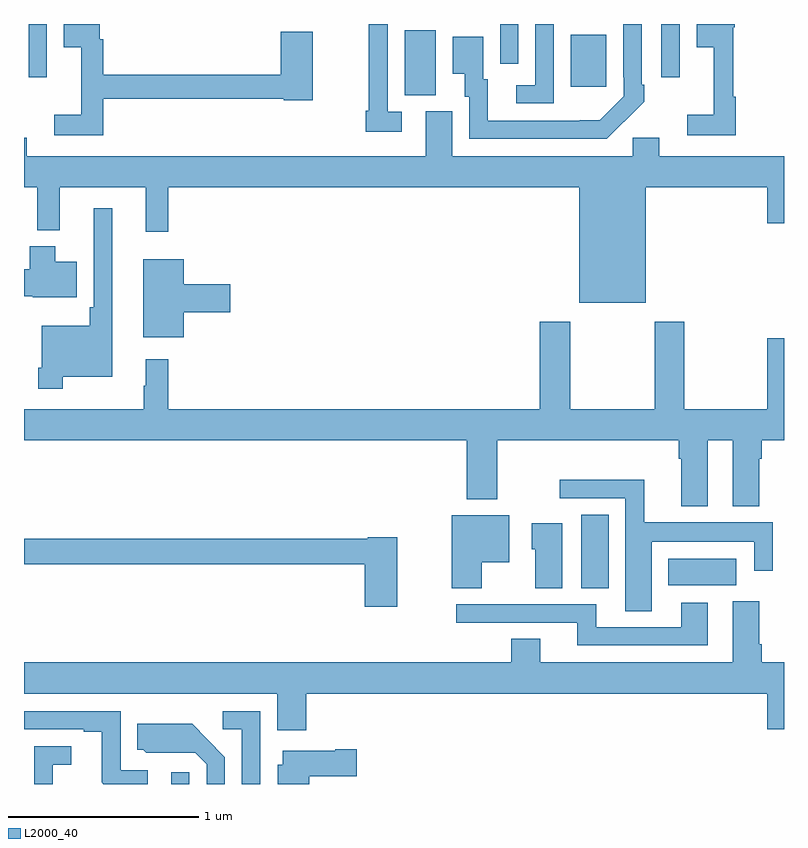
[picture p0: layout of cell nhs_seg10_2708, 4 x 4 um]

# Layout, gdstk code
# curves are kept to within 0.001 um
import gdstk
lib = gdstk.Library(unit=1e-6, precision=1e-09)
def R(c, l, rs):  # rectangles x0, y0, x1, y1
    for r in rs: c.add(gdstk.rectangle(r[:2], r[2:], *l))
def P(c, l, *ps):  # polygons
    for p in ps: c.add(gdstk.Polygon(p, *l))
L2000_40 = (2000, 40)

nhs_seg10_2708 = lib.new_cell('nhs_seg10_2708')
R(nhs_seg10_2708, L2000_40, [(257.775,1306.5,257.871,1306.561), (259.934,1307.53,260.077,1307.918), (260.39,1307.546,260.749,1307.686), (259.004,1310.125,259.168,1310.468), (259.877,1310.169,260.065,1310.443), (257.025,1310.22,257.121,1310.5), (260.355,1310.22,260.451,1310.5), (259.506,1310.292,259.602,1310.5)])
P(nhs_seg10_2708, L2000_40, [(257.417,1310.106),(258.366,1310.106),(258.366,1310.098),(258.52,1310.098),(258.52,1310.458),(258.35,1310.458),(258.35,1310.234),(257.417,1310.234),(257.417,1310.421),(257.398,1310.421),(257.398,1310.5),(257.21,1310.5),(257.21,1310.378),(257.3,1310.378),(257.3,1310.023),(257.16,1310.023),(257.16,1309.914),(257.417,1309.914)],
  [(259.788,1310.5),(259.692,1310.5),(259.692,1310.178),(259.59,1310.178),(259.59,1310.082),(259.788,1310.082)],
  [(258.988,1310.037),(258.915,1310.037),(258.915,1310.5),(258.814,1310.5),(258.814,1310.044),(258.799,1310.044),(258.799,1309.932),(258.988,1309.932)],
  [(260.159,1309.987),(260.16,1309.986),(260.265,1310.091),(260.265,1310.179),(260.25,1310.179),(260.25,1310.5),(260.154,1310.5),(260.154,1310.221),(260.157,1310.221),(260.157,1310.121),(260.029,1309.993),(259.441,1309.992),(259.441,1310.208),(259.417,1310.208),(259.417,1310.434),(259.256,1310.434),(259.256,1310.237),(259.319,1310.237),(259.319,1310.118),(259.344,1310.118),(259.344,1309.896),(260.068,1309.896)],
  [(260.747,1310.117),(260.732,1310.117),(260.732,1310.482),(260.741,1310.482),(260.741,1310.5),(260.54,1310.5),(260.54,1310.378),(260.63,1310.378),(260.63,1310.023),(260.49,1310.023),(260.49,1309.914),(260.747,1309.914)],
  [(260.272,1309.64),(260.912,1309.64),(260.912,1309.452),(261,1309.452),(261,1309.804),(260.344,1309.804),(260.344,1309.902),(260.205,1309.902),(260.205,1309.804),(259.255,1309.804),(259.255,1310.04),(259.115,1310.04),(259.115,1309.804),(257.014,1309.804),(257.014,1309.902),(257,1309.902),(257,1309.64),(257.071,1309.64),(257.071,1309.415),(257.189,1309.415),(257.189,1309.64),(257.642,1309.64),(257.642,1309.407),(257.759,1309.407),(257.759,1309.64),(259.922,1309.64),(259.922,1309.034),(260.272,1309.034)],
  [(257.203,1308.644),(257.464,1308.644),(257.464,1309.531),(257.367,1309.531),(257.367,1309.009),(257.347,1309.009),(257.347,1308.913),(257.094,1308.913),(257.094,1308.691),(257.074,1308.691),(257.074,1308.579),(257.203,1308.579)],
  [(257.278,1309.249),(257.164,1309.249),(257.164,1309.33),(257.029,1309.33),(257.029,1309.209),(257,1309.209),(257,1309.067),(257.046,1309.067),(257.046,1309.061),(257.278,1309.061)],
  [(257.842,1308.983),(258.085,1308.983),(258.085,1309.13),(257.842,1309.13),(257.842,1309.261),(257.627,1309.261),(257.627,1308.851),(257.842,1308.851)],
  [(259.715,1308.934),(259.715,1308.472),(257.759,1308.472),(257.759,1308.736),(257.642,1308.736),(257.642,1308.596),(257.631,1308.596),(257.631,1308.472),(257,1308.472),(257,1308.308),(259.331,1308.308),(259.331,1307.999),(259.491,1307.999),(259.491,1308.308),(260.447,1308.308),(260.447,1308.212),(260.459,1308.212),(260.459,1307.963),(260.599,1307.963),(260.599,1308.308),(260.729,1308.308),(260.729,1307.963),(260.869,1307.963),(260.869,1308.212),(260.882,1308.212),(260.882,1308.308),(261,1308.308),(261,1308.847),(260.912,1308.847),(260.912,1308.472),(260.475,1308.472),(260.475,1308.934),(260.32,1308.934),(260.32,1308.472),(259.875,1308.472),(259.875,1308.934)],
  [(260.305,1307.774),(260.844,1307.774),(260.844,1307.622),(260.94,1307.622),(260.94,1307.878),(260.264,1307.878),(260.264,1308.101),(259.821,1308.101),(259.821,1308.003),(260.165,1308.003),(260.165,1307.41),(260.305,1307.41)],
  [(259.408,1307.666),(259.555,1307.666),(259.555,1307.914),(259.25,1307.914),(259.25,1307.53),(259.408,1307.53)],
  [(259.834,1307.872),(259.673,1307.872),(259.673,1307.736),(259.691,1307.736),(259.691,1307.53),(259.834,1307.53)],
  [(258.964,1307.8),(258.81,1307.8),(258.81,1307.792),(257,1307.792),(257,1307.656),(258.794,1307.656),(258.794,1307.433),(258.964,1307.433)],
  [(258.485,1306.976),(260.912,1306.976),(260.912,1306.788),(261,1306.788),(261,1307.14),(260.882,1307.14),(260.882,1307.236),(260.869,1307.236),(260.869,1307.461),(260.729,1307.461),(260.729,1307.14),(259.717,1307.14),(259.717,1307.264),(259.565,1307.264),(259.565,1307.14),(257,1307.14),(257,1306.976),(258.332,1306.976),(258.332,1306.782),(258.485,1306.782)],
  [(260.599,1307.455),(260.459,1307.455),(260.459,1307.325),(260.011,1307.325),(260.011,1307.445),(259.275,1307.445),(259.275,1307.349),(259.913,1307.349),(259.913,1307.229),(260.599,1307.229)],
  [(258.243,1306.884),(258.045,1306.884),(258.045,1306.788),(258.147,1306.788),(258.147,1306.5),(258.243,1306.5)],
  [(257.65,1306.572),(257.508,1306.572),(257.508,1306.884),(257,1306.884),(257,1306.787),(257.001,1306.788),(257.315,1306.788),(257.315,1306.776),(257.409,1306.776),(257.409,1306.508),(257.417,1306.5),(257.65,1306.5)],
  [(258.057,1306.642),(257.885,1306.816),(257.597,1306.816),(257.597,1306.68),(257.628,1306.68),(257.644,1306.664),(257.901,1306.665),(257.961,1306.605),(257.961,1306.5),(258.057,1306.5)],
  [(257.151,1306.601),(257.248,1306.601),(257.248,1306.698),(257.055,1306.698),(257.055,1306.5),(257.151,1306.5)],
  [(258.502,1306.541),(258.751,1306.541),(258.751,1306.683),(258.638,1306.683),(258.638,1306.675),(258.362,1306.675),(258.362,1306.602),(258.335,1306.602),(258.335,1306.5),(258.502,1306.5)])

lib.write_gds('nhs_seg10_2708.gds')
